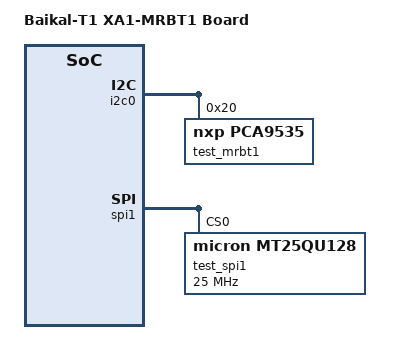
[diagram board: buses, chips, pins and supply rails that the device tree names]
/*
 * Baikal-T1 XA1-MRBT1 board device tree
 *
 * Copyright (C) 2018 T-platforms JSC
 *
 * This program is free software; you can redistribute it and/or
 * modify it under the terms of the GNU General Public License
 * as published by the Free Software Foundation; either version 2
 * of the License, or (at your option) any later version.
 */

/dts-v1/;

#include "tplatforms_mrbt1.dtsi"

/ {
	model = "Baikal-T1 XA1-MRBT1 Board";
	compatible = "baikal,mips", "baikal,baikal-t1-soc", "tplatforms,baikal-mrbt1-card", "tplatforms,baikal-xa1-mrbt1-board";
};

&i2c0 {
	status = "okay";

	test_mrbt1: gpioexp@20 {
		compatible = "nxp,pca9535";
		reg = <0x20>;
		gpio-controller;
		#gpio-cells = <2>;
		ngpios = <16>; /* Informative */
	};
};

&spi1 {
	status = "okay";
	num-cs = <4>;

	test_spi1: mt25qu128@0 {
		compatible = "micron,mt25qu128", "jedec,spi-nor";
		#address-cells = <1>;
		#size-cells = <1>;
		reg = <0>;
		spi-max-frequency = <25000000>;
		m25p,fast-read;
	};
};
